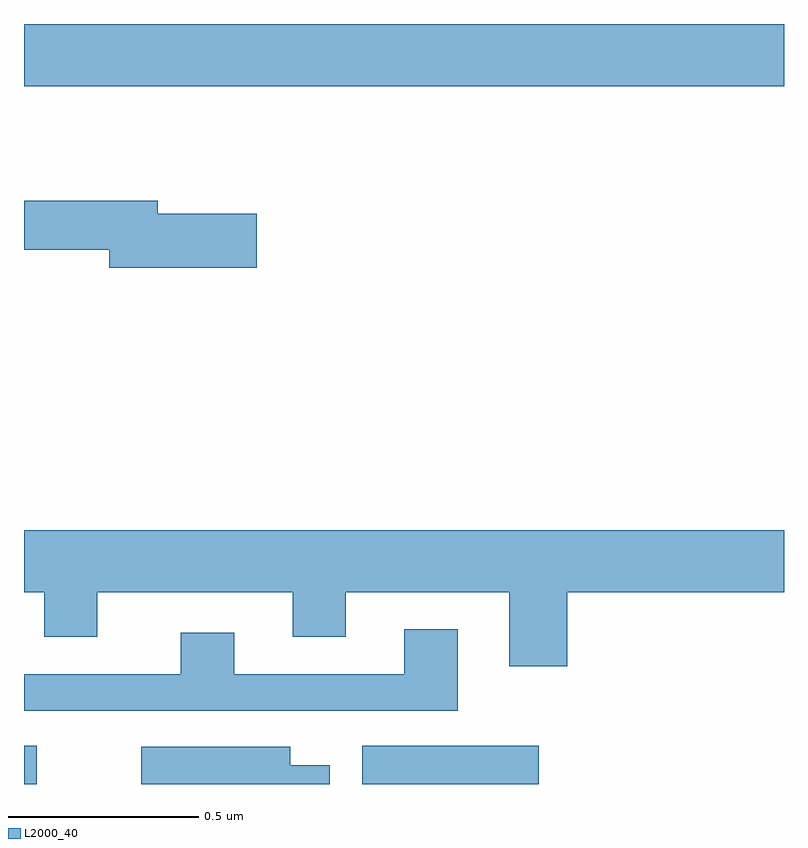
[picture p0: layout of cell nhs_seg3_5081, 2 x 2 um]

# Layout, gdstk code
import gdstk
lib = gdstk.Library(unit=1e-6, precision=1e-09)
def R(c, l, rs):  # rectangles x0, y0, x1, y1
    for r in rs: c.add(gdstk.rectangle(r[:2], r[2:], *l))
def P(c, l, *ps):  # polygons
    for p in ps: c.add(gdstk.Polygon(p, *l))
L2000_40 = (2000, 40)

nhs_seg3_5081 = lib.new_cell('nhs_seg3_5081')
R(nhs_seg3_5081, L2000_40, [(174,712.4,174.034,712.501), (174.89,712.4,175.354,712.501), (174,714.236,176,714.4)])
P(nhs_seg3_5081, L2000_40, [(174.613,713.901),(174.352,713.901),(174.352,713.935),(174,713.935),(174,713.806),(174.224,713.806),(174.224,713.759),(174.613,713.759)],
  [(175.43,712.904),(176,712.904),(176,713.068),(174,713.068),(174,712.904),(174.053,712.904),(174.053,712.787),(174.193,712.787),(174.193,712.904),(174.707,712.904),(174.707,712.787),(174.847,712.787),(174.847,712.904),(175.277,712.904),(175.277,712.71),(175.43,712.71)],
  [(175.141,712.807),(175.001,712.807),(175.001,712.689),(174.553,712.689),(174.553,712.798),(174.413,712.798),(174.413,712.689),(174,712.689),(174,712.593),(175.141,712.593)],
  [(174.805,712.45),(174.7,712.45),(174.7,712.498),(174.308,712.498),(174.308,712.4),(174.805,712.4)])

lib.write_gds('nhs_seg3_5081.gds')
